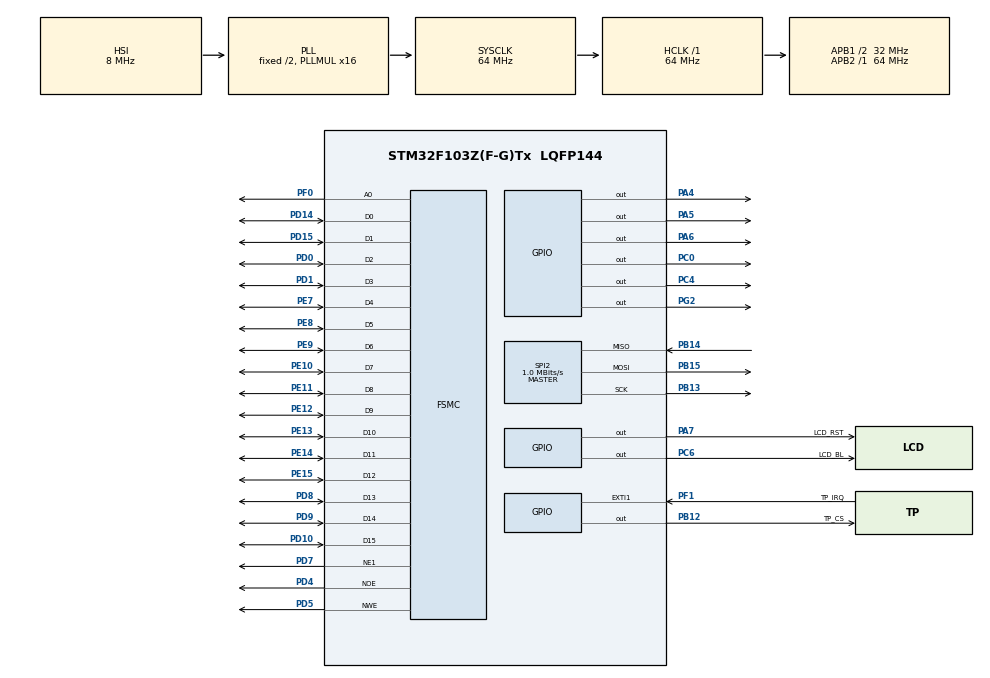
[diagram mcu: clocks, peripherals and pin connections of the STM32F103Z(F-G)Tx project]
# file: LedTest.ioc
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FSMC.AddressSetupTime1=2
FSMC.BusTurnAroundDuration1=2
FSMC.DataSetupTime1=1
Mcu.Family=STM32F1
Mcu.Name=STM32F103Z(F-G)Tx
Mcu.Package=LQFP144
NVIC.EXTI1_IRQn=true\:5\:0\:false\:false\:true\:true\:true\:true
NVIC.PriorityGroup=NVIC_PRIORITYGROUP_4
PA13.Mode=Serial_Wire
PA13.Signal=SYS_JTMS-SWDIO
PA14.Mode=Serial_Wire
PA14.Signal=SYS_JTCK-SWCLK
PA4.Signal=GPIO_Output
PA5.Signal=GPIO_Output
PA6.Signal=GPIO_Output
PA7.GPIO_Label=LCD_RST
PA7.Signal=GPIO_Output
PB12.GPIO_Label=TP_CS
PB12.PinState=GPIO_PIN_SET
PB12.Signal=GPIO_Output
PB13.Mode=Full_Duplex_Master
PB13.Signal=SPI2_SCK
PB14.Mode=Full_Duplex_Master
PB14.Signal=SPI2_MISO
PB15.Mode=Full_Duplex_Master
PB15.Signal=SPI2_MOSI
PC0.PinState=GPIO_PIN_SET
PC0.Signal=GPIO_Output
PC4.PinState=GPIO_PIN_SET
PC4.Signal=GPIO_Output
PC6.GPIO_Label=LCD_BL
PC6.PinState=GPIO_PIN_SET
PC6.Signal=GPIO_Output
PD0.Signal=FSMC_D2_DA2
PD1.Signal=FSMC_D3_DA3
PD10.Signal=FSMC_D15_DA15
PD14.Signal=FSMC_D0_DA0
PD15.Signal=FSMC_D1_DA1
PD4.Signal=FSMC_NOE
PD5.Signal=FSMC_NWE
PD7.Mode=NorPsramChipSelect1_1
PD7.Signal=FSMC_NE1
PD8.Signal=FSMC_D13_DA13
PD9.Signal=FSMC_D14_DA14
PE10.Signal=FSMC_D7_DA7
PE11.Signal=FSMC_D8_DA8
PE12.Signal=FSMC_D9_DA9
PE13.Signal=FSMC_D10_DA10
PE14.Signal=FSMC_D11_DA11
PE15.Signal=FSMC_D12_DA12
PE7.Signal=FSMC_D4_DA4
PE8.Signal=FSMC_D5_DA5
PE9.Signal=FSMC_D6_DA6
PF0.Signal=FSMC_A0
PF1.GPIO_Label=TP_IRQ
PF1.GPIO_ModeDefaultEXTI=GPIO_MODE_IT_FALLING
PF1.GPIO_PuPd=GPIO_PULLUP
PF1.Signal=GPXTI1
PG2.Signal=GPIO_Output
ProjectManager.HeapSize=0x200
ProjectManager.StackSize=0x400
ProjectManager.TargetToolchain=STM32CubeIDE
RCC.AHBFreq_Value=64000000
RCC.APB1CLKDivider=RCC_HCLK_DIV2
RCC.APB1Freq_Value=32000000
RCC.APB1TimFreq_Value=64000000
RCC.APB2Freq_Value=64000000
RCC.APB2TimFreq_Value=64000000
RCC.CSICalibrationValue=32
RCC.HCLKFreq_Value=64000000
RCC.PLL1_VCI_Range=RCC_PLL_VCOINPUT_RANGE3
RCC.PLL1_VCO_SEL=RCC_PLL_VCO_HIGH
RCC.PLL2FRACN=0
RCC.PLL2_VCI_Range=RCC_PLL_VCOINPUT_RANGE3
RCC.PLL2_VCO_SEL=RCC_PLL_VCO_HIGH
RCC.PLL3FRACN=0
RCC.PLL3_VCI_Range=RCC_PLL_VCOINPUT_RANGE3
RCC.PLL3_VCO_SEL=RCC_PLL_VCO_HIGH
RCC.PLLFRACN=0
RCC.PLLMUL=RCC_PLL_MUL16
RCC.PWR_Regulator_Voltage_Scale=PWR_REGULATOR_VOLTAGE_SCALE1
RCC.ProductRev=revV
RCC.RCC_TIM_PRescaler_Selection=RCC_TIMPRES_DISABLE
RCC.SYSCLKFreq_VALUE=64000000
RCC.SYSCLKSource=RCC_SYSCLKSOURCE_PLLCLK
RCC.USBFreq_Value=64000000
SH.FSMC_A0.0=FSMC_A0,A0_1
SH.FSMC_D0_DA0.0=FSMC_D0,16b-d1
SH.FSMC_D10_DA10.0=FSMC_D10,16b-d1
SH.FSMC_D11_DA11.0=FSMC_D11,16b-d1
SH.FSMC_D12_DA12.0=FSMC_D12,16b-d1
SH.FSMC_D13_DA13.0=FSMC_D13,16b-d1
SH.FSMC_D14_DA14.0=FSMC_D14,16b-d1
SH.FSMC_D15_DA15.0=FSMC_D15,16b-d1
SH.FSMC_D1_DA1.0=FSMC_D1,16b-d1
SH.FSMC_D2_DA2.0=FSMC_D2,16b-d1
SH.FSMC_D3_DA3.0=FSMC_D3,16b-d1
SH.FSMC_D4_DA4.0=FSMC_D4,16b-d1
SH.FSMC_D5_DA5.0=FSMC_D5,16b-d1
SH.FSMC_D6_DA6.0=FSMC_D6,16b-d1
SH.FSMC_D7_DA7.0=FSMC_D7,16b-d1
SH.FSMC_D8_DA8.0=FSMC_D8,16b-d1
SH.FSMC_D9_DA9.0=FSMC_D9,16b-d1
SH.FSMC_NOE.0=FSMC_NOE,Lcd1
SH.FSMC_NWE.0=FSMC_NWE,Lcd1
SPI2.BaudRatePrescaler=SPI_BAUDRATEPRESCALER_32
SPI2.CalculateBaudRate=1.0 MBits/s
SPI2.Direction=SPI_DIRECTION_2LINES
SPI2.Mode=SPI_MODE_MASTER
SPI2.VirtualNSS=VM_NSS_Soft
SPI2.VirtualType=VM_MASTER
board=custom

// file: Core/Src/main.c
/* USER CODE BEGIN Header */
/**
  ******************************************************************************
  * @file           : main.c
  * @brief          : Main program body
  ******************************************************************************
  * @attention
  *
  * Copyright (c) 2026 STMicroelectronics.
  * All rights reserved.
  *
  * This software is licensed under terms that can be found in the LICENSE file
  * in the root directory of this software component.
  * If no LICENSE file comes with this software, it is provided AS-IS.
  *
  ******************************************************************************
  */
/* USER CODE END Header */
#include "main.h"

/* USER CODE BEGIN Includes */
#include "app_config.h"
#include "lcd.h"
#if APP_USE_LVGL
#include "app_lvgl.h"
#include "lv_port_disp.h"
#include "lvgl/lvgl.h"
#include "touch_xpt2046.h"
#if APP_TOUCH_TEST
#include "app_touch_test.h"
#endif
#endif
/* USER CODE END Includes */

/* USER CODE BEGIN PTD */

#define LCD_BASE 0x60000000UL

#define LCD_REG (*(volatile uint16_t *)0x60000000)
#define LCD_RAM (*(volatile uint16_t *)0x60000002)
//#define LCD_RAM (*(volatile uint16_t *)0x60000004)

#define BLACK   0x0000
#define WHITE   0xFFFF

#define RED     0xF800
#define GREEN   0x07E0
#define BLUE    0x001F

#define YELLOW  0xFFE0
#define CYAN    0x07FF
#define MAGENTA 0xF81F

/* USER CODE END PTD */

SPI_HandleTypeDef hspi2;

SRAM_HandleTypeDef hsram1;

void SystemClock_Config(void);
static void MX_GPIO_Init(void);
static void MX_FSMC_Init(void);
static void MX_SPI2_Init(void);

/* USER CODE BEGIN 0 */

static void LCD_WriteCommand(uint16_t cmd)
{
    LCD_REG = cmd;
}

static void LCD_WriteData(uint16_t data)
{
    LCD_RAM = data;
}

static void LCD_WriteReg(uint16_t reg, uint16_t value)
{
    LCD_WriteCommand(reg);
    LCD_WriteData(value);
}

#define LCD_RST_GPIO_Port GPIOA
#define LCD_RST_Pin       GPIO_PIN_7

#define LCD_BL_GPIO_PORT GPIOC
#define LCD_BL_Pin 6

void LCD_Reset(void)
{
    HAL_GPIO_WritePin(LCD_RST_GPIO_Port,
                      LCD_RST_Pin,
                      GPIO_PIN_RESET);

    HAL_Delay(20);

    HAL_GPIO_WritePin(LCD_RST_GPIO_Port,
                      LCD_RST_Pin,
                      GPIO_PIN_SET);

    HAL_GPIO_WritePin(LCD_BL_GPIO_PORT,
    	LCD_BL_Pin,
                       GPIO_PIN_SET);

    HAL_Delay(120);
}

void LCD_Init(void)
{
    LCD_Reset();

    LCD_WriteCommand(0x3A);
    LCD_WriteData(0x55);

    LCD_WriteCommand(0xB5);
    LCD_WriteData(0x04);
    LCD_WriteData(0x04);
    LCD_WriteData(0x0A);
    LCD_WriteData(0x14);

    LCD_WriteCommand(0x35);
    LCD_WriteData(0x00);

    LCD_WriteCommand(0xCF);
    LCD_WriteData(0x00);
    LCD_WriteData(0xEA);
    LCD_WriteData(0xF0);

    LCD_WriteCommand(0xED);
    LCD_WriteData(0x64);
    LCD_WriteData(0x03);
    LCD_WriteData(0x12);
    LCD_WriteData(0x81);

    LCD_WriteCommand(0xE8);
    LCD_WriteData(0x85);
    LCD_WriteData(0x10);
    LCD_WriteData(0x78);

    LCD_WriteCommand(0xCB);
    LCD_WriteData(0x39);
    LCD_WriteData(0x2C);
    LCD_WriteData(0x00);
    LCD_WriteData(0x33);
    LCD_WriteData(0x06);

    LCD_WriteCommand(0xF7);
    LCD_WriteData(0x20);

    LCD_WriteCommand(0xEA);
    LCD_WriteData(0x00);
    LCD_WriteData(0x00);

    LCD_WriteCommand(0xC0);
    LCD_WriteData(0x21);

    LCD_WriteCommand(0xC1);
    LCD_WriteData(0x10);

    LCD_WriteCommand(0xC5);
    LCD_WriteData(0x4F);
    LCD_WriteData(0x38);

    LCD_WriteCommand(0xC7);
    LCD_WriteData(0xB7);

    LCD_WriteCommand(0x36);
    LCD_WriteData(0x68);

    LCD_WriteCommand(0xB1);
    LCD_WriteData(0x00);
    LCD_WriteData(0x13);

    LCD_WriteCommand(0xB6);
    LCD_WriteData(0x0A);
    LCD_WriteData(0xA2);

    LCD_WriteCommand(0xF2);
    LCD_WriteData(0x02);

    LCD_WriteCommand(0x26);
    LCD_WriteData(0x01);

    LCD_WriteCommand(0xE0);
    LCD_WriteData(0x0F);
    LCD_WriteData(0x27);
    LCD_WriteData(0x24);
    LCD_WriteData(0x0C);
    LCD_WriteData(0x10);
    LCD_WriteData(0x08);
    LCD_WriteData(0x55);
    LCD_WriteData(0x87);
    LCD_WriteData(0x45);
    LCD_WriteData(0x08);
    LCD_WriteData(0x14);
    LCD_WriteData(0x07);
    LCD_WriteData(0x13);
    LCD_WriteData(0x08);
    LCD_WriteData(0x00);

    LCD_WriteCommand(0xE1);
    LCD_WriteData(0x00);
    LCD_WriteData(0x0F);
    LCD_WriteData(0x12);
    LCD_WriteData(0x05);
    LCD_WriteData(0x11);
    LCD_WriteData(0x06);
    LCD_WriteData(0x25);
    LCD_WriteData(0x34);
    LCD_WriteData(0x37);
    LCD_WriteData(0x01);
    LCD_WriteData(0x08);
    LCD_WriteData(0x07);
    LCD_WriteData(0x2B);
    LCD_WriteData(0x34);
    LCD_WriteData(0x0F);

    LCD_WriteCommand(0x11);
    HAL_Delay(120);

    LCD_WriteCommand(0x29);
    HAL_Delay(20);
}

/*
void LCD_Init(void)
{
    LCD_Reset();

    LCD_WriteCommand(0x01);       // Software reset
    HAL_Delay(10);

    LCD_WriteCommand(0x28);       // Display OFF

    LCD_WriteCommand(0x3A);       // Pixel format
    LCD_WriteData(0x55);          // RGB565

    LCD_WriteCommand(0x36);       // Memory access control
    LCD_WriteData(0x48);

    LCD_WriteCommand(0x11);       // Sleep out
    HAL_Delay(120);

    LCD_WriteCommand(0x29);       // Display ON
    HAL_Delay(20);
}
*/

static void LCD_WriteData8(uint8_t data)
{
    LCD_RAM = data;
}

static void LCD_SetWindow(    uint16_t x0,    uint16_t y0,    uint16_t x1,    uint16_t y1)
{
    LCD_WriteCommand(0x2A);
    LCD_WriteData8(x0 >> 8);
    LCD_WriteData8(x0 & 0xFF);
    LCD_WriteData8(x1 >> 8);
    LCD_WriteData8(x1 & 0xFF);
    LCD_WriteCommand(0x2B);
    LCD_WriteData8(y0 >> 8);
    LCD_WriteData8(y0 & 0xFF);
    LCD_WriteData8(y1 >> 8);
    LCD_WriteData8(y1 & 0xFF);
    LCD_WriteCommand(0x2C);
}

void LCD_FillRect(uint16_t x,
                  uint16_t y,
                  uint16_t w,
                  uint16_t h,
                  uint16_t color)
{
    uint32_t i;

    LCD_SetWindow(x, y, x + w - 1, y + h - 1);

    for(i = 0; i < (uint32_t)w * h; i++)
    {
        LCD_WriteData(color);
    }
}

void LCD_FillScreen(uint16_t color)
{
    uint32_t i;

    LCD_SetWindow(0, 0, 319, 239);

    for(i = 0; i < 320UL * 240UL; i++)
    {
        LCD_WriteData(color);
    }

}

void LCD_DrawPixel(uint16_t x, uint16_t y, uint16_t color)
{
    LCD_SetWindow(x, y, x, y);
    LCD_WriteData(color);
}

void LCD_WritePixels(uint16_t x0, uint16_t y0, uint16_t x1, uint16_t y1,
                     const uint16_t *pixels)
{
    if(pixels == NULL || x0 > x1 || y0 > y1 ||
       x1 >= LCD_WIDTH || y1 >= LCD_HEIGHT)
    {
        Error_Handler();
        return;
    }

    uint32_t count = ((uint32_t)x1 - x0 + 1U) * ((uint32_t)y1 - y0 + 1U);
    LCD_SetWindow(x0, y0, x1, y1);
    for(uint32_t i = 0; i < count; ++i)
    {
        LCD_WriteData(pixels[i]);
    }
}
/* USER CODE END 0 */

int main(void)
{

  /* MCU Configuration--------------------------------------------------------*/

  /* Reset of all peripherals, Initializes the Flash interface and the Systick. */
  HAL_Init();

  /* Configure the system clock */
  SystemClock_Config();

  /* Initialize all configured peripherals */
  MX_GPIO_Init();
  MX_FSMC_Init();
  MX_SPI2_Init();
  /* USER CODE BEGIN 2 */
  LCD_Init();
#if APP_USE_LVGL
  lv_port_disp_init();
  touch_xpt2046_init(&hspi2);
#if APP_TOUCH_TEST
  app_touch_test_init(&hspi2);
#else
  app_lvgl_init();
#endif
#endif
  /* USER CODE END 2 */
  /* Infinite loop */
  while (1)
  {

    /* USER CODE BEGIN 3 */
#if APP_USE_LVGL
    touch_xpt2046_process();
#if APP_TOUCH_TEST
    app_touch_test_process();
#else
    app_lvgl_process();
#endif
    lv_timer_handler();
    HAL_Delay(5);
#else
    LCD_FillScreen(RED);
    HAL_Delay(1000);
    LCD_FillScreen(GREEN);
    HAL_Delay(1000);
    LCD_FillScreen(BLUE);
    HAL_Delay(1000);
    LCD_FillScreen(WHITE);
    HAL_Delay(1000);
#endif
  }
  /* USER CODE END 3 */
}

void SystemClock_Config(void)
{
  RCC_OscInitTypeDef RCC_OscInitStruct = {0};
  RCC_ClkInitTypeDef RCC_ClkInitStruct = {0};

  /** Initializes the RCC Oscillators according to the specified parameters
  * in the RCC_OscInitTypeDef structure.
  */
  RCC_OscInitStruct.OscillatorType = RCC_OSCILLATORTYPE_HSI;
  RCC_OscInitStruct.HSIState = RCC_HSI_ON;
  RCC_OscInitStruct.HSICalibrationValue = RCC_HSICALIBRATION_DEFAULT;
  RCC_OscInitStruct.PLL.PLLState = RCC_PLL_ON;
  RCC_OscInitStruct.PLL.PLLSource = RCC_PLLSOURCE_HSI_DIV2;
  RCC_OscInitStruct.PLL.PLLMUL = RCC_PLL_MUL16;
  if (HAL_RCC_OscConfig(&RCC_OscInitStruct) != HAL_OK)
  {
    Error_Handler();
  }

  /** Initializes the CPU, AHB and APB buses clocks
  */
  RCC_ClkInitStruct.ClockType = RCC_CLOCKTYPE_HCLK|RCC_CLOCKTYPE_SYSCLK
                              |RCC_CLOCKTYPE_PCLK1|RCC_CLOCKTYPE_PCLK2;
  RCC_ClkInitStruct.SYSCLKSource = RCC_SYSCLKSOURCE_PLLCLK;
  RCC_ClkInitStruct.AHBCLKDivider = RCC_SYSCLK_DIV1;
  RCC_ClkInitStruct.APB1CLKDivider = RCC_HCLK_DIV2;
  RCC_ClkInitStruct.APB2CLKDivider = RCC_HCLK_DIV1;

  if (HAL_RCC_ClockConfig(&RCC_ClkInitStruct, FLASH_LATENCY_2) != HAL_OK)
  {
    Error_Handler();
  }
}

static void MX_SPI2_Init(void)
{

  /* SPI2 parameter configuration*/
  hspi2.Instance = SPI2;
  hspi2.Init.Mode = SPI_MODE_MASTER;
  hspi2.Init.Direction = SPI_DIRECTION_2LINES;
  hspi2.Init.DataSize = SPI_DATASIZE_8BIT;
  hspi2.Init.CLKPolarity = SPI_POLARITY_LOW;
  hspi2.Init.CLKPhase = SPI_PHASE_1EDGE;
  hspi2.Init.NSS = SPI_NSS_SOFT;
  hspi2.Init.BaudRatePrescaler = SPI_BAUDRATEPRESCALER_32;
  hspi2.Init.FirstBit = SPI_FIRSTBIT_MSB;
  hspi2.Init.TIMode = SPI_TIMODE_DISABLE;
  hspi2.Init.CRCCalculation = SPI_CRCCALCULATION_DISABLE;
  hspi2.Init.CRCPolynomial = 10;
  if (HAL_SPI_Init(&hspi2) != HAL_OK)
  {
    Error_Handler();
  }

}

static void MX_GPIO_Init(void)
{
  GPIO_InitTypeDef GPIO_InitStruct = {0};

  /* GPIO Ports Clock Enable */
  __HAL_RCC_GPIOF_CLK_ENABLE();
  __HAL_RCC_GPIOC_CLK_ENABLE();
  __HAL_RCC_GPIOA_CLK_ENABLE();
  __HAL_RCC_GPIOE_CLK_ENABLE();
  __HAL_RCC_GPIOB_CLK_ENABLE();
  __HAL_RCC_GPIOD_CLK_ENABLE();
  __HAL_RCC_GPIOG_CLK_ENABLE();

  /*Configure GPIO pin Output Level */
  HAL_GPIO_WritePin(GPIOC, GPIO_PIN_0|GPIO_PIN_4|LCD_BL_Pin, GPIO_PIN_SET);

  /*Configure GPIO pin Output Level */
  HAL_GPIO_WritePin(GPIOA, GPIO_PIN_4|GPIO_PIN_5|GPIO_PIN_6|LCD_RST_Pin, GPIO_PIN_RESET);

  /*Configure GPIO pin Output Level */
  HAL_GPIO_WritePin(GPIOG, GPIO_PIN_2, GPIO_PIN_RESET);

  /*Configure GPIO pins : PC0 PC4 LCD_BL_Pin */
  GPIO_InitStruct.Pin = GPIO_PIN_0|GPIO_PIN_4|LCD_BL_Pin;
  GPIO_InitStruct.Mode = GPIO_MODE_OUTPUT_PP;
  GPIO_InitStruct.Pull = GPIO_NOPULL;
  GPIO_InitStruct.Speed = GPIO_SPEED_FREQ_LOW;
  HAL_GPIO_Init(GPIOC, &GPIO_InitStruct);

  /*Configure GPIO pins : PA4 PA5 PA6 LCD_RST_Pin */
  GPIO_InitStruct.Pin = GPIO_PIN_4|GPIO_PIN_5|GPIO_PIN_6|LCD_RST_Pin;
  GPIO_InitStruct.Mode = GPIO_MODE_OUTPUT_PP;
  GPIO_InitStruct.Pull = GPIO_NOPULL;
  GPIO_InitStruct.Speed = GPIO_SPEED_FREQ_LOW;
  HAL_GPIO_Init(GPIOA, &GPIO_InitStruct);

  /*Configure GPIO pin : PG2 */
  GPIO_InitStruct.Pin = GPIO_PIN_2;
  GPIO_InitStruct.Mode = GPIO_MODE_OUTPUT_PP;
  GPIO_InitStruct.Pull = GPIO_NOPULL;
  GPIO_InitStruct.Speed = GPIO_SPEED_FREQ_LOW;
  HAL_GPIO_Init(GPIOG, &GPIO_InitStruct);

  /* USER CODE BEGIN MX_GPIO_Init_2 */
  HAL_GPIO_WritePin(TP_CS_GPIO_Port, TP_CS_Pin, GPIO_PIN_SET);
  GPIO_InitStruct.Pin = TP_CS_Pin;
  GPIO_InitStruct.Mode = GPIO_MODE_OUTPUT_PP;
  GPIO_InitStruct.Pull = GPIO_NOPULL;
  GPIO_InitStruct.Speed = GPIO_SPEED_FREQ_LOW;
  HAL_GPIO_Init(TP_CS_GPIO_Port, &GPIO_InitStruct);

  GPIO_InitStruct.Pin = TP_IRQ_Pin;
  GPIO_InitStruct.Mode = GPIO_MODE_IT_FALLING;
  GPIO_InitStruct.Pull = GPIO_PULLUP;
  HAL_GPIO_Init(TP_IRQ_GPIO_Port, &GPIO_InitStruct);
  __HAL_GPIO_EXTI_CLEAR_IT(TP_IRQ_Pin);
  HAL_NVIC_ClearPendingIRQ(EXTI1_IRQn);
  HAL_NVIC_SetPriority(EXTI1_IRQn, 5, 0);
  HAL_NVIC_EnableIRQ(EXTI1_IRQn);
  /* USER CODE END MX_GPIO_Init_2 */
}

/* FSMC initialization function */
static void MX_FSMC_Init(void)
{

  FSMC_NORSRAM_TimingTypeDef Timing = {0};

  /** Perform the SRAM1 memory initialization sequence
  */
  hsram1.Instance = FSMC_NORSRAM_DEVICE;
  hsram1.Extended = FSMC_NORSRAM_EXTENDED_DEVICE;
  /* hsram1.Init */
  hsram1.Init.NSBank = FSMC_NORSRAM_BANK1;
  hsram1.Init.DataAddressMux = FSMC_DATA_ADDRESS_MUX_DISABLE;
  hsram1.Init.MemoryType = FSMC_MEMORY_TYPE_SRAM;
  hsram1.Init.MemoryDataWidth = FSMC_NORSRAM_MEM_BUS_WIDTH_16;
  hsram1.Init.BurstAccessMode = FSMC_BURST_ACCESS_MODE_DISABLE;
  hsram1.Init.WaitSignalPolarity = FSMC_WAIT_SIGNAL_POLARITY_LOW;
  hsram1.Init.WrapMode = FSMC_WRAP_MODE_DISABLE;
  hsram1.Init.WaitSignalActive = FSMC_WAIT_TIMING_BEFORE_WS;
  hsram1.Init.WriteOperation = FSMC_WRITE_OPERATION_ENABLE;
  hsram1.Init.WaitSignal = FSMC_WAIT_SIGNAL_DISABLE;
  hsram1.Init.ExtendedMode = FSMC_EXTENDED_MODE_DISABLE;
  hsram1.Init.AsynchronousWait = FSMC_ASYNCHRONOUS_WAIT_DISABLE;
  hsram1.Init.WriteBurst = FSMC_WRITE_BURST_DISABLE;
  /* Timing */
  Timing.AddressSetupTime = 2;
  Timing.AddressHoldTime = 1;
  Timing.DataSetupTime = 6;
  Timing.BusTurnAroundDuration = 2;
  Timing.CLKDivision = 16;
  Timing.DataLatency = 17;
  Timing.AccessMode = FSMC_ACCESS_MODE_A;
  /* ExtTiming */

  if (HAL_SRAM_Init(&hsram1, &Timing, NULL) != HAL_OK)
  {
    Error_Handler( );
  }

  /** Disconnect NADV
  */

  __HAL_AFIO_FSMCNADV_DISCONNECTED();

}

/* USER CODE BEGIN 4 */
void HAL_GPIO_EXTI_Callback(uint16_t GPIO_Pin)
{
#if APP_USE_LVGL
  if(GPIO_Pin == TP_IRQ_Pin)
  {
    touch_xpt2046_irq();
  }
#else
  UNUSED(GPIO_Pin);
#endif
}
/* USER CODE END 4 */

void Error_Handler(void)
{
  __disable_irq();
  while (1)
  {
  }
}
